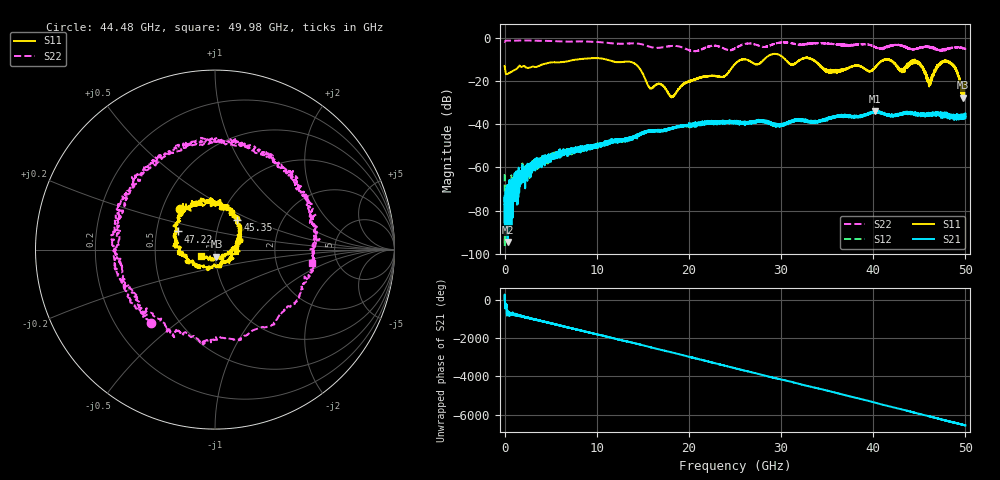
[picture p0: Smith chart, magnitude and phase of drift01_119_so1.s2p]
!Created with skrf (http://scikit-rf.org).
# Hz S RI R 50.0
!freq ReS11 ImS11 ReS21 ImS21 ReS12 ImS12 ReS22 ImS22
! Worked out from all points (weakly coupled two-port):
!   10001 points, 300 kHz to 50 GHz, reference 50 ohm
!   highest |S21| = -34.13 dB at 40.19 GHz (marker M1); lowest = -94.5 dB at 330.3 MHz (marker M2)
!   lowest |S11| = -27.7 dB at 49.7 GHz (marker M3), VSWR 1.09, Z = 50.7 - j4.08 ohm
!   |S11| at or under -10 dB: start of sweep to 8.084 GHz; 10.91 GHz to 28.19 GHz (17.28 GHz wide, 88.4 % of centre); 33.39 GHz to end of sweep (the widest 3 of 11)
!   |S22| runs from -6.4 to -1.4 dB; largest |S21 - S12| = 0.0041
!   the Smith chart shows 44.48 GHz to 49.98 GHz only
!   S11 on the Smith chart (normalised r, x): 44.48 GHz: 0.62, +0.31; 45.35 GHz: 1.21, +0.42; 47.22 GHz: 0.65, +0.14; 49.98 GHz: 0.85, -0.06
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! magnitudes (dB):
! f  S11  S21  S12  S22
! 300 kHz  -13.1  -77.0  -63.2  -2.1
! 330.3 MHz  -16.8  -94.5  -79.4  -1.4
! 3.08 GHz  -13.5  -58.2  -59.7  -1.4
! 8.335 GHz  -9.9  -51.2  -51.4  -1.8
! 13.8 GHz  -11.4  -46.6  -46.5  -2.7
! 15.75 GHz  -23.3  -43.6  -43.2  -4.2
! 16.67 GHz  -21.4  -43.0  -43.0  -4.8
! 18.2 GHz  -27.3  -41.7  -41.7  -3.9
! 25 GHz  -12.2  -39.1  -39.0  -5.0
! 33.34 GHz  -10.0  -38.7  -39.1  -2.7
! 35.14 GHz  -15.8  -37.3  -37.5  -2.8
! 40.19 GHz  -13.9  -34.1  -34.5  -4.3
! 41.67 GHz  -10.2  -36.3  -36.2  -4.3
! 43.08 GHz  -15.6  -35.1  -35.1  -3.7
! 44.48 GHz  -10.5  -35.3  -35.1  -5.4
! 45.35 GHz  -13.6  -35.7  -35.4  -4.6
! 46.14 GHz  -20.9  -35.2  -35.3  -4.3
! 47.22 GHz  -12.8  -35.2  -35.7  -5.8
! 48.65 GHz  -12.5  -36.5  -36.7  -4.7
! 49.7 GHz  -27.7  -35.7  -36.9  -4.9
! 49.98 GHz  -21.2  -36.7  -36.3  -5.2
! 50 GHz  -21.0  -37.2  -37.0  -5.3
